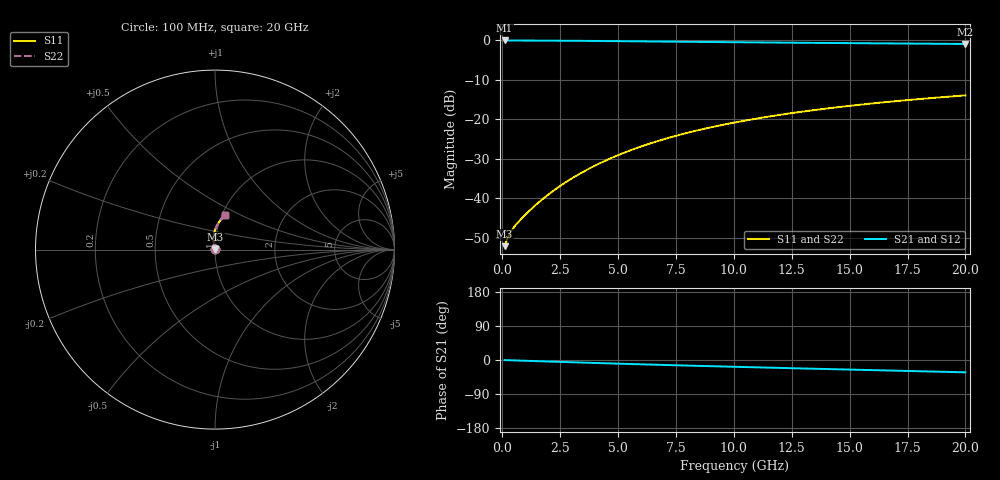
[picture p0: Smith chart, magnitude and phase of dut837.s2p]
! Touchstone file exported from HFSS 2024.1.0
!  File:  C:/UserFiles/LocalFiles/RDL_TSV_Batchsim/temp_RDL_bottom_837_1779863515.aedt
!  Generated:  02:34:11 PM May 27, 2026
!  Design:  RDL_bottom
!  Project:  temp_RDL_bottom_837_1779863515
!  Setup:  Setup1
!  Solution:  Sweep
! Variables:
!  dtsv = 10.80580581um
!  hbump = 3um
!  htsv = 56.19um
!  ldown = 542.68um
!  lrdl = 100um
!  p = 40
!  p1 = 42.39um
!  rhole = 1um
!  t = 450um
!  tdown = 3.22um
!  trdl = 3.915915916um
!  wdown = 29.85um
!  wrdl = 20um
# GHz S MA R 50.000000
! Terminal data exported
! Port[1] = RDL1_T1
! Port[2] = RDL1_T2
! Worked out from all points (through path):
!   200 points, 100 MHz to 20 GHz, reference 50 ohm
!   highest |S21| = -0.02 dB at 100 MHz (marker M1); lowest = -0.9 dB at 20 GHz (marker M2)
!   group delay of S21, straight-line fit = 4.43 ps
!   lowest |S11| = -52.2 dB at 100 MHz (marker M3), VSWR 1.00, Z = 50.2 + j0.0842 ohm
!   |S11| at or under -10 dB: start of sweep to end of sweep
!   |S22| runs from -52.2 to -14.0 dB; largest |S21 - S12| = 3.5e-15
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0.1  0.002459 19.9  0.9977 -0.2  0.9977 -0.2  0.002459 19.9
! Gamma 0 0 0 0
! Port Impedance 50 0 50 0
0.2  0.002951 31.7  0.9974 -0.4  0.9974 -0.4  0.002951 31.7
0.3  0.003442 38.3  0.9972 -0.6  0.9972 -0.6  0.003442 38.3
0.4  0.003874 43.0  0.9969 -0.9  0.9969 -0.9  0.003874 43.0
0.5  0.004264 47.0  0.9967 -1.1  0.9967 -1.1  0.004265 47.0
0.8  0.005386 57.7  0.9961 -1.7  0.9961 -1.7  0.005387 57.7
1.2  0.007045 69.0  0.9952 -2.5  0.9952 -2.5  0.007046 69.0
1.7  0.009495 79.2  0.9939 -3.5  0.9939 -3.5  0.009494 79.2
2.3  0.01297 87.4  0.9918 -4.6  0.9918 -4.6  0.01297 87.4
2.9  0.01702 92.8  0.9892 -5.8  0.9892 -5.8  0.01701 92.7
3.5  0.02159 96.2  0.9862 -6.9  0.9862 -6.9  0.02157 96.1
4.2  0.02754 98.6  0.9824 -8.2  0.9824 -8.2  0.02751 98.5
5  0.03503 99.7  0.9777 -9.7  0.9777 -9.7  0.03499 99.7
5.9  0.04417 99.8  0.9722 -11.3  0.9722 -11.3  0.04411 99.8
6.8  0.05386 99.1  0.9665 -12.8  0.9665 -12.8  0.05378 99.0
8.4  0.07195 96.6  0.9568 -15.4  0.9568 -15.4  0.07183 96.5
10.1  0.09171 93.2  0.947 -18.0  0.947 -18.0  0.09157 93.2
11.7  0.1104 89.8  0.9384 -20.5  0.9384 -20.5  0.1102 89.8
13.4  0.1299 86.2  0.9299 -23.0  0.9299 -23.0  0.1297 86.2
15  0.1479 82.9  0.9223 -25.3  0.9223 -25.3  0.1477 82.8
16.7  0.1665 79.4  0.9146 -27.8  0.9146 -27.8  0.1662 79.4
20  0.2007 73.1  0.9004 -32.5  0.9004 -32.5  0.2004 73.0
